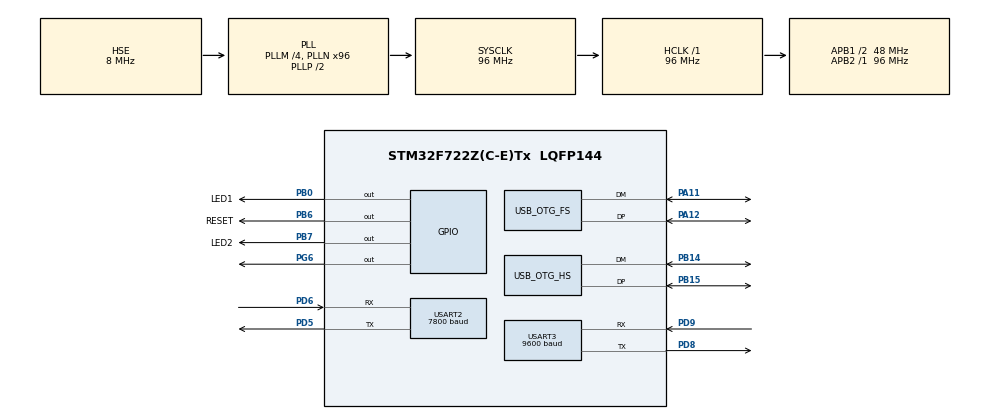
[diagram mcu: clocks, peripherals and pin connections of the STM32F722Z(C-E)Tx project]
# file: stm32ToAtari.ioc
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Mcu.Family=STM32F7
Mcu.Name=STM32F722Z(C-E)Tx
Mcu.Package=LQFP144
NVIC.OTG_FS_IRQn=true\:0\:0\:true\:false\:true\:false\:true
NVIC.OTG_HS_IRQn=true\:0\:0\:true\:false\:true\:false\:true
NVIC.PriorityGroup=NVIC_PRIORITYGROUP_4
NVIC.USART2_IRQn=true\:15\:0\:true\:false\:true\:true\:true
NVIC.USART3_IRQn=true\:0\:0\:false\:false\:true\:true\:true
PA11.Mode=Host_Only
PA11.Signal=USB_OTG_FS_DM
PA12.Mode=Host_Only
PA12.Signal=USB_OTG_FS_DP
PA13.Mode=Serial_Wire
PA13.Signal=SYS_JTMS-SWDIO
PA14.Mode=Serial_Wire
PA14.Signal=SYS_JTCK-SWCLK
PB0.GPIO_Label=LED1
PB0.Signal=GPIO_Output
PB14.Mode=Internal_Phy_Host
PB14.Signal=USB_OTG_HS_DM
PB15.Mode=Internal_Phy_Host
PB15.Signal=USB_OTG_HS_DP
PB6.GPIO_Label=RESET
PB6.GPIO_ModeDefaultOutputPP=GPIO_MODE_OUTPUT_OD
PB6.GPIO_PuPd=GPIO_PULLDOWN
PB6.PinState=GPIO_PIN_SET
PB6.Signal=GPIO_Output
PB7.GPIO_Label=LED2
PB7.Signal=GPIO_Output
PD5.Mode=Asynchronous
PD5.Signal=USART2_TX
PD6.Mode=Asynchronous
PD6.Signal=USART2_RX
PD8.Mode=Asynchronous
PD8.Signal=USART3_TX
PD9.Mode=Asynchronous
PD9.Signal=USART3_RX
PG6.GPIO_PuPd=GPIO_PULLUP
PG6.PinState=GPIO_PIN_SET
PG6.Signal=GPIO_Output
PH0-OSC_IN.Mode=HSE-External-Oscillator
PH0-OSC_IN.Signal=RCC_OSC_IN
PH1-OSC_OUT.Mode=HSE-External-Oscillator
PH1-OSC_OUT.Signal=RCC_OSC_OUT
ProjectManager.HeapSize=0x2000
ProjectManager.StackSize=0x2000
ProjectManager.TargetToolchain=STM32CubeIDE
RCC.AHBFreq_Value=96000000
RCC.APB1CLKDivider=RCC_HCLK_DIV2
RCC.APB1Freq_Value=48000000
RCC.APB1TimFreq_Value=96000000
RCC.APB2Freq_Value=96000000
RCC.APB2TimFreq_Value=96000000
RCC.CortexFreq_Value=96000000
RCC.HCLKFreq_Value=96000000
RCC.HSE_Timout=5000
RCC.HSE_VALUE=8000000
RCC.HSI_VALUE=16000000
RCC.LSE_VALUE=32768
RCC.PLLM=4
RCC.PLLN=96
RCC.PLLQ=4
RCC.PWREXT_OverDrive=PWREXT_OverDrive_ACTIVATED
RCC.PWR_Regulator_Voltage_Scale=PWR_REGULATOR_VOLTAGE_SCALE1
RCC.SYSCLKFreq_VALUE=96000000
RCC.SYSCLKSource=RCC_SYSCLKSOURCE_PLLCLK
RCC.USBFreq_Value=48000000
RCC.VCOOutputFreq_Value=192000000
USART2.BaudRate=7800
USART2.OverrunDisableParam=ADVFEATURE_OVERRUN_DISABLE
USART2.VirtualMode-Asynchronous=VM_ASYNC
USART3.BaudRate=9600
USART3.OverrunDisableParam=ADVFEATURE_OVERRUN_DISABLE
USART3.VirtualMode-Asynchronous=VM_ASYNC
USB_HOST.USBH_HandleTypeDef-HID_FS=hUsbHostFS
USB_HOST.USBH_HandleTypeDef-HID_HS=hUsbHostHS
USB_HOST.VirtualModeFS=Hid
USB_HOST.VirtualModeHS=Hid
USB_OTG_FS.VirtualMode=Host_Only
USB_OTG_FS.phy_itface=HCD_PHY_EMBEDDED
USB_OTG_HS.VirtualMode-Internal_Phy_Host=Int_Phy_Host
VP_USB_HOST_VS_USB_HOST_HID_FS.Mode=HID_FS
VP_USB_HOST_VS_USB_HOST_HID_HS.Mode=HID_HS
board=custom

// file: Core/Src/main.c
/* USER CODE BEGIN Header */
/**
  ******************************************************************************
  * @file           : main.c
  * @brief          : Main program body
  ******************************************************************************
  * @attention
  *
  * <h2><center>&copy; Copyright (c) 2020 STMicroelectronics.
  * All rights reserved.</center></h2>
  *
  * This software component is licensed by ST under BSD 3-Clause license,
  * the "License"; You may not use this file except in compliance with the
  * License. You may obtain a copy of the License at:
  *                        opensource.org/licenses/BSD-3-Clause
  *
  ******************************************************************************
  */
/* USER CODE END Header */

#include "main.h"
#include "usb_host.h"

/* USER CODE BEGIN Includes */
#include "atarist.h"
/* USER CODE END Includes */

/* USER CODE BEGIN PD */
 MouseStatusTypeDef MouseStatus;
 MouseStateTypeDef MouseState;
 JoystickStateTypeDef JoystickState;
 JoystickStatusTypeDef JoystickStatus;

 HID_USBDevicesTypeDef* usb;
 HID_KEYBD_Info_TypeDef *k_pinfo;
 HAL_StatusTypeDef status;
 uint8_t RxBuffer[50] = {0};
 uint8_t RxPrev = 0;

 uint8_t dat_clock[7] = {0};

 //mouse data

/* USER CODE END PD */

UART_HandleTypeDef huart2;
UART_HandleTypeDef huart3;

void SystemClock_Config(void);
static void MX_GPIO_Init(void);
static void MX_USART2_UART_Init(void);
static void MX_USART3_UART_Init(void);
void MX_USB_HOST_Process(void);

/* USER CODE BEGIN 0 */

int __io_putchar(int ch)
{
 uint8_t c[1];
 c[0] = ch & 0x00FF;
 HAL_UART_Transmit(&huart3, &*c, 1, 5);

 return ch;
}

int _write(int file,char *ptr, int len)
{
 int DataIdx;
 for(DataIdx= 0; DataIdx< len; DataIdx++)
 {
 __io_putchar(*ptr++);
 }
return len;
}

uint8_t MapJoystick(uint8_t joystick_data)
{

	  uint8_t joymapped = 0x00;

	   	//Map any button to
		//BTN0 = (joydata1>>7&0x1);
		//BTN1 =  (joydata1>>6&0x1);
		//BTN2 =  (joydata1>>5&0x1);
		//BTN3 =  (joydata1>>4&0x1);

		   	//fire
		   	if((joystick_data>>7&0x1)||(joystick_data>>6&0x1)||(joystick_data>>5&0x1))
		   			{
		   				joymapped = joymapped|0x80;
		   			}
			//mask 0x01 up
		   	//mask 0x02 down
			//mask 0x04
			//mask 0x08

		   	//UP = (*joymap>>3&0x1); Map one of buttons as a jump.
		   	if((joystick_data>>3&0x1)||(joystick_data>>4&0x1))
		   	{
		   		joymapped = joymapped|0x01;
		   	}

		   	//DOWN = (*joymap>>2&0x1);
		 	if(joystick_data>>2&0x1)
			{
		 		joymapped = joymapped|0x02;
			}

			//LEFT = (*joydata1>>1&0x1);
			 	if(joystick_data>>1&0x1)
			 			{
			 				joymapped = joymapped|0x04;
			 			}

		 	////RIGHT = (*joydata1&0x1);

		 	if(joystick_data&0x1)
		 			{
		 				joymapped = joymapped|0x08;
		 			}
		 	return joymapped;
}

void ResetAllStates()
{
	MouseState = MOUSE_RELATIVE;
	MouseStatus.mouse_threshold_x = 1;
	MouseStatus.mouse_threshold_y = 1;
	MouseStatus.absolute_mouse_max_x = 0xFFFF;
	MouseStatus.absolute_mouse_max_y = 0xFFFF;
	MouseStatus.mouse_scale_x = 1;
	MouseStatus.mouse_scale_y = 1;
	MouseStatus.mouse_keycode_delta_x = 1;
	MouseStatus.mouse_keycode_delta_y = 1;

	MouseStatus.mouse_y_position = MOUSE_Y0_AT_TOP;
	JoystickState = JOYSTICK_EVENT_REPORTING;
	JoystickStatus.joystick_data1 = 0;
	JoystickStatus.joystick_data2 = 0;
	JoystickStatus.joystick_previous_data1 = 0;
	JoystickStatus.joystick_previous_data2 = 0;

}

/*0x0D
Returns:
        0xF7       ; absolute mouse position header
BUTTONS
        0000dcba   ; where a is right button down since last interrogation
                   ; b is right button up since last
                   ; c is left button down since last
                   ; d is left button up since last
        XMSB       ; X coordinate
        XLSB
        YMSB       ; Y coordinate
        YLSB
 */

void SendAbsoluteMouseReport(void)
{
	  uint8_t mouse_absolute_report[6] = {0};

		mouse_absolute_report[0] = 0xF7;
		mouse_absolute_report[1] = 0x00;

			if (MouseStatus.absolute_mouse_btn[0]==1)
			{
				mouse_absolute_report[1] = mouse_absolute_report[1]|0x04;
			}
			else
			{
				mouse_absolute_report[1] = mouse_absolute_report[1]|0x08;
			}

			if (MouseStatus.absolute_mouse_btn[1]==1)
			{
				mouse_absolute_report[1] = mouse_absolute_report[1]|0x01;
			}
			else
			{
				mouse_absolute_report[1] = mouse_absolute_report[1]|0x02;
			}

		mouse_absolute_report[2] = *((uint8_t*)&(MouseStatus.absolute_mouse_x)+1);
		mouse_absolute_report[3] = *((uint8_t*)&(MouseStatus.absolute_mouse_x)+0);
		mouse_absolute_report[4] = *((uint8_t*)&(MouseStatus.absolute_mouse_y)+1);
		mouse_absolute_report[5] = *((uint8_t*)&(MouseStatus.absolute_mouse_y)+0);

		if(MouseState == MOUSE_ABSOLUTE)
		{
			HAL_UART_Transmit(&huart2, mouse_absolute_report, 6, 20);
		}

}

void PrintReport(void)
{

			printf("\e[1;1H\e[2J");
			printf("-----------MOUSE STATE--------------\r\n");
	   		printf("Mouse State: %d \r\n",MouseState);
	   		printf("----------MOUSE---------------\r\n");
	   		printf("absolute_mouse_x %d \r\n",MouseStatus.absolute_mouse_x);
	   		printf("absolute_mouse_y %d \r\n",MouseStatus.absolute_mouse_y);
	   		printf("absolute_mouse_btn[0] %d \r\n",MouseStatus.absolute_mouse_btn[0]);
	   		printf("absolute_mouse_btn[1] %d \r\n",MouseStatus.absolute_mouse_btn[1]);
	   		printf("absolute_mouse_btn[2] %d \r\n",MouseStatus.absolute_mouse_btn[2]);

	   		printf("absolute_mouse_previous_btn[0] %d \r\n",MouseStatus.absolute_mouse_previous_btn[0]);
	   		printf("absolute_mouse_previous_btn[1] %d \r\n",MouseStatus.absolute_mouse_previous_btn[1]);
	   		printf("absolute_mouse_previous_btn[2] %d \r\n",MouseStatus.absolute_mouse_previous_btn[2]);

	   		printf("absolute_mouse_max_x %d \r\n",MouseStatus.absolute_mouse_max_x);
	   		printf("absolute_mouse_max_y %d \r\n",MouseStatus.absolute_mouse_max_y);
	   		printf("mouse_threshold_x %d \r\n",MouseStatus.mouse_threshold_x);
	   		printf("mouse_threshold_y %d \r\n",MouseStatus.mouse_threshold_y);
	   		printf("mouse_scale_x %d \r\n",MouseStatus.mouse_scale_x);
	   		printf("mouse_scale_y %d \r\n",MouseStatus.mouse_scale_y);
	   		printf("mouse_keycode_delta_x %d \r\n",MouseStatus.mouse_keycode_delta_x);
	   		printf("mouse_keycode_delta_y %d \r\n",MouseStatus.mouse_keycode_delta_y);
	   		printf("mouse_Y_position %d \r\n",MouseStatus.mouse_y_position);
	   		printf("mouse_button_action %d \r\n",MouseStatus.mouse_button_action);
	   		printf("mouse_button_action_previous_btn[0] %d \r\n",MouseStatus.mouse_button_action_previous_btn[0]);
	   		printf("mouse_button_action_previous_btn[1] %d \r\n",MouseStatus.mouse_button_action_previous_btn[1]);
	   		printf("mouse_button_action_previous_btn[3] %d \r\n",MouseStatus.mouse_button_action_previous_btn[3]);

	   		printf("-----------JOYSTICK STATE--------------\r\n");
	   		printf("Joystick State: %d \r\n",JoystickState);
	   		printf("-----------JOYSTICK STATUS--------------\r\n");
	   		printf("joystick_data1 %d \r\n",JoystickStatus.joystick_data1);
	   		printf("joystick_data2 %d \r\n",JoystickStatus.joystick_data2);
	   		printf("joystick_previous_data1 %d \r\n",JoystickStatus.joystick_previous_data1);
	   		printf("joystick_previous_data2 %d \r\n",JoystickStatus.joystick_previous_data2);
}

/* USER CODE END 0 */

int main(void)
{
  /* USER CODE BEGIN 1 */
ResetAllStates();

  /* USER CODE END 1 */

  /* MCU Configuration--------------------------------------------------------*/

  /* Reset of all peripherals, Initializes the Flash interface and the Systick. */
  HAL_Init();

  /* USER CODE BEGIN Init */

   //Set defaults

  /* USER CODE END Init */

  /* Configure the system clock */
  SystemClock_Config();

  /* Initialize all configured peripherals */
  MX_GPIO_Init();
  MX_USB_HOST_Init();
  MX_USART2_UART_Init();
  MX_USART3_UART_Init();
  /* USER CODE BEGIN 2 */
  initKeyboard(&huart2);

  HAL_UART_Receive_IT(&huart2, RxBuffer, 1);

  //Ack start
  HAL_GPIO_WritePin(LED1_GPIO_Port, LED1_Pin, GPIO_PIN_RESET);
  HAL_GPIO_WritePin(LED2_GPIO_Port, LED2_Pin, GPIO_PIN_RESET);
  printf("!!STM32ToAtari started!! \r\n");

  uint8_t lastGUI = 0x00;

  /* USER CODE END 2 */

  /* Infinite loop */
  while (1)
  {
    MX_USB_HOST_Process();

    /* USER CODE BEGIN 3 */
    usb = (HID_USBDevicesTypeDef *) USBH_HID_GetUSBDev();

    //Keyboard data
    if(usb->keyboard!=NULL)
    {

   	 	 processKbd(usb->keyboard);

   	 if ((lastGUI!=usb->keyboard->lgui)&& usb->keyboard->lgui == 1)
   	 {
   		PrintReport();

   	 }
   	 lastGUI = usb->keyboard->lgui;
    }

//Relative position reporting
 /*
  %111110xy         ; mouse position record flag
                    ; where y is the right button state
                    ; and x is the left button state
X                   ; delta x as twos complement integer
Y                   ; delta y as twos complement integer

*/
 if (usb!=NULL&&usb->mouse!=NULL)
 {
	 //SET Y=0 AT BOTTOM assume it means inverting Y delta (?)

		if (MouseStatus.mouse_y_position == MOUSE_Y0_AT_BOTTOM )
		 {
			 usb->mouse->x = (usb->mouse->x) * -1;
		 }

		switch(MouseState)
		{

			case MOUSE_DISABLED:
			break;

			case MOUSE_RELATIVE:
				;
				uint8_t mouse[3] = {0};
				mouse[0] = 0xF8;
				mouse[0]= mouse[0]|(usb->mouse->buttons[0]<<1);
				mouse[0]= mouse[0]|(usb->mouse->buttons[1]);
				if (abs(usb->mouse->x)>=(MouseStatus.mouse_threshold_x)) mouse[1] = usb->mouse->x;
				if (abs(usb->mouse->y)>=(MouseStatus.mouse_threshold_y)) mouse[2] = usb->mouse->y;

				__disable_irq();
				HAL_UART_Transmit(&huart2, mouse, 3, 10);
				__enable_irq();
			break;

			case MOUSE_ABSOLUTE:

				   MouseStatus.absolute_mouse_btn[0] = usb->mouse->buttons[0];
				   MouseStatus.absolute_mouse_btn[1] = usb->mouse->buttons[1];

				   int new_x_coordinate =  (MouseStatus.absolute_mouse_x) + ((usb->mouse->x) / MouseStatus.mouse_scale_x);
				   if (new_x_coordinate < 0)
					   {
					   new_x_coordinate = 0 ;
					   }
				   	   	   else if (new_x_coordinate > MouseStatus.absolute_mouse_max_x)
				   	   	   {
				   	   		   new_x_coordinate = MouseStatus.absolute_mouse_max_x;
				   	   	   }

				   int new_y_coordinate =  (MouseStatus.absolute_mouse_y) + ((usb->mouse->y) / MouseStatus.mouse_scale_y);
				   if (new_y_coordinate < 0)
					   {
					   	   new_y_coordinate = 0;
					   }
				   	   	   else if (new_y_coordinate > MouseStatus.absolute_mouse_max_y )
				   	   	   {
				   	   		   	   new_y_coordinate = MouseStatus.absolute_mouse_max_y;
				   	   	   }

				   MouseStatus.absolute_mouse_x = (uint16_t)new_x_coordinate;
				   MouseStatus.absolute_mouse_y = (uint16_t)new_y_coordinate;

				   //Action as per Mouse Button action

				   if  (MouseStatus.mouse_button_action == 0x01 || MouseStatus.mouse_button_action == 0x03 )
				   {
					   if ( (MouseStatus.mouse_button_action_previous_btn[0] != usb->mouse->buttons[0]) || (MouseStatus.mouse_button_action_previous_btn[1] != usb->mouse->buttons[1]) )
					   {
						   SendAbsoluteMouseReport();
						   MouseStatus.mouse_button_action_previous_btn[0] = usb->mouse->buttons[0];
						   MouseStatus.mouse_button_action_previous_btn[1] = usb->mouse->buttons[1];
					   }

				   }

				   if  (MouseStatus.mouse_button_action == 0x02 || MouseStatus.mouse_button_action == 0x03)
				   {
					   if ( (MouseStatus.mouse_button_action_previous_btn[0] != usb->mouse->buttons[0]) || (MouseStatus.mouse_button_action_previous_btn[1] != usb->mouse->buttons[1]) )
					  	{
					  		SendAbsoluteMouseReport();
					  		MouseStatus.mouse_button_action_previous_btn[0] = usb->mouse->buttons[0];
					  		MouseStatus.mouse_button_action_previous_btn[1] = usb->mouse->buttons[1];
					  	}

				   }
			break;

		case MOUSE_KEYCODE:
			;
		   	   HID_KEYBD_Info_TypeDef mouse_keycode_keyboard = {0};

		   	   //Handle X coordinates
		   	   if(abs(usb->mouse->x) > MouseStatus.mouse_keycode_delta_x)
		   	   {
		   		   if (usb->mouse->x > 0)
		   		   {
		   			   mouse_keycode_keyboard.keys[0] = KEY_RIGHTARROW;
		   		   }
		   		   else
		   		   {
		   			   mouse_keycode_keyboard.keys[0] = KEY_LEFTARROW;
		   		   }
		   	   }

		   	   //Handle Y coordinates
		   	   if(abs(usb->mouse->y) > MouseStatus.mouse_keycode_delta_y)
		   	   {
		   		   if (usb->mouse->y > 0)
		   		   {
		   			 mouse_keycode_keyboard.keys[1] = KEY_UPARROW;
		   		   }
		   		   else
		   		   {
		   			 mouse_keycode_keyboard.keys[1] = KEY_DOWNARROW;
		   		   }

		   	   }
		   	   //Handle buttons assume Mouse button action = MOUSE_BUTTON_ACTION_KEYCODE
		   	   if(usb->mouse->buttons[0]==1)
		   	   {
		   		   mouse_keycode_keyboard.keys[2] = 0xF0;
		   	   }

		   	   if(usb->mouse->buttons[1]==1)
		   	   {
		   		   mouse_keycode_keyboard.keys[3] = 0xF1;
		   	   }

		   	   processKbd(&mouse_keycode_keyboard);
		   	   mouse_keycode_keyboard.keys[0] = 0x00;
		   	   mouse_keycode_keyboard.keys[1] = 0x00;
		   	   processKbd(&mouse_keycode_keyboard);
	 	 break;

	 	 }//End of case statement

 }

 //handle joy
 if(usb!=NULL&&usb->gamepad1!=NULL)
 {
	 //change values of variables only if data differes.
	 if(JoystickStatus.joystick_previous_data1 != usb->gamepad1)
	 		{
		 	 JoystickStatus.joystick_data1 = usb->gamepad1;
		 	 JoystickStatus.joystick_previous_data1 = JoystickStatus.joystick_data1;

		 	 	if (JoystickState==JOYSTICK_EVENT_REPORTING)
		 	 		 {
		 	 		 	 	uint8_t joy1_package_event[2] = {0};
		 	 				joy1_package_event[0] = 0xFF;
		 	 				joy1_package_event[1] = MapJoystick(JoystickStatus.joystick_data1);
		 	 				__disable_irq();
		 	 				HAL_UART_Transmit(&huart2, joy1_package_event, 2, 100);
		 	 				__enable_irq();
		 	 			}

	 		}

	 }

  }
  /* USER CODE END 3 */
}

void SystemClock_Config(void)
{
  RCC_OscInitTypeDef RCC_OscInitStruct = {0};
  RCC_ClkInitTypeDef RCC_ClkInitStruct = {0};
  RCC_PeriphCLKInitTypeDef PeriphClkInitStruct = {0};

  /** Configure the main internal regulator output voltage
  */
  __HAL_RCC_PWR_CLK_ENABLE();
  __HAL_PWR_VOLTAGESCALING_CONFIG(PWR_REGULATOR_VOLTAGE_SCALE1);
  /** Initializes the CPU, AHB and APB busses clocks
  */
  RCC_OscInitStruct.OscillatorType = RCC_OSCILLATORTYPE_HSE;
  RCC_OscInitStruct.HSEState = RCC_HSE_ON;
  RCC_OscInitStruct.PLL.PLLState = RCC_PLL_ON;
  RCC_OscInitStruct.PLL.PLLSource = RCC_PLLSOURCE_HSE;
  RCC_OscInitStruct.PLL.PLLM = 4;
  RCC_OscInitStruct.PLL.PLLN = 96;
  RCC_OscInitStruct.PLL.PLLP = RCC_PLLP_DIV2;
  RCC_OscInitStruct.PLL.PLLQ = 4;
  if (HAL_RCC_OscConfig(&RCC_OscInitStruct) != HAL_OK)
  {
    Error_Handler();
  }
  /** Activate the Over-Drive mode
  */
  if (HAL_PWREx_EnableOverDrive() != HAL_OK)
  {
    Error_Handler();
  }
  /** Initializes the CPU, AHB and APB busses clocks
  */
  RCC_ClkInitStruct.ClockType = RCC_CLOCKTYPE_HCLK|RCC_CLOCKTYPE_SYSCLK
                              |RCC_CLOCKTYPE_PCLK1|RCC_CLOCKTYPE_PCLK2;
  RCC_ClkInitStruct.SYSCLKSource = RCC_SYSCLKSOURCE_PLLCLK;
  RCC_ClkInitStruct.AHBCLKDivider = RCC_SYSCLK_DIV1;
  RCC_ClkInitStruct.APB1CLKDivider = RCC_HCLK_DIV2;
  RCC_ClkInitStruct.APB2CLKDivider = RCC_HCLK_DIV1;

  if (HAL_RCC_ClockConfig(&RCC_ClkInitStruct, FLASH_LATENCY_3) != HAL_OK)
  {
    Error_Handler();
  }
  PeriphClkInitStruct.PeriphClockSelection = RCC_PERIPHCLK_USART2|RCC_PERIPHCLK_USART3
                              |RCC_PERIPHCLK_CLK48;
  PeriphClkInitStruct.Usart2ClockSelection = RCC_USART2CLKSOURCE_PCLK1;
  PeriphClkInitStruct.Usart3ClockSelection = RCC_USART3CLKSOURCE_PCLK1;
  PeriphClkInitStruct.Clk48ClockSelection = RCC_CLK48SOURCE_PLL;
  if (HAL_RCCEx_PeriphCLKConfig(&PeriphClkInitStruct) != HAL_OK)
  {
    Error_Handler();
  }
}

static void MX_USART2_UART_Init(void)
{

  huart2.Instance = USART2;
  huart2.Init.BaudRate = 7800;
  huart2.Init.WordLength = UART_WORDLENGTH_8B;
  huart2.Init.StopBits = UART_STOPBITS_1;
  huart2.Init.Parity = UART_PARITY_NONE;
  huart2.Init.Mode = UART_MODE_TX_RX;
  huart2.Init.HwFlowCtl = UART_HWCONTROL_NONE;
  huart2.Init.OverSampling = UART_OVERSAMPLING_16;
  huart2.Init.OneBitSampling = UART_ONE_BIT_SAMPLE_DISABLE;
  huart2.AdvancedInit.AdvFeatureInit = UART_ADVFEATURE_RXOVERRUNDISABLE_INIT;
  huart2.AdvancedInit.OverrunDisable = UART_ADVFEATURE_OVERRUN_DISABLE;
  if (HAL_UART_Init(&huart2) != HAL_OK)
  {
    Error_Handler();
  }

}

static void MX_USART3_UART_Init(void)
{

  huart3.Instance = USART3;
  huart3.Init.BaudRate = 9600;
  huart3.Init.WordLength = UART_WORDLENGTH_8B;
  huart3.Init.StopBits = UART_STOPBITS_1;
  huart3.Init.Parity = UART_PARITY_NONE;
  huart3.Init.Mode = UART_MODE_TX_RX;
  huart3.Init.HwFlowCtl = UART_HWCONTROL_NONE;
  huart3.Init.OverSampling = UART_OVERSAMPLING_16;
  huart3.Init.OneBitSampling = UART_ONE_BIT_SAMPLE_DISABLE;
  huart3.AdvancedInit.AdvFeatureInit = UART_ADVFEATURE_RXOVERRUNDISABLE_INIT;
  huart3.AdvancedInit.OverrunDisable = UART_ADVFEATURE_OVERRUN_DISABLE;
  if (HAL_UART_Init(&huart3) != HAL_OK)
  {
    Error_Handler();
  }

}

static void MX_GPIO_Init(void)
{
  GPIO_InitTypeDef GPIO_InitStruct = {0};

  /* GPIO Ports Clock Enable */
  __HAL_RCC_GPIOH_CLK_ENABLE();
  __HAL_RCC_GPIOB_CLK_ENABLE();
  __HAL_RCC_GPIOD_CLK_ENABLE();
  __HAL_RCC_GPIOG_CLK_ENABLE();
  __HAL_RCC_GPIOA_CLK_ENABLE();

  /*Configure GPIO pin Output Level */
  HAL_GPIO_WritePin(GPIOB, LED1_Pin|LED2_Pin, GPIO_PIN_RESET);

  /*Configure GPIO pin Output Level */
  HAL_GPIO_WritePin(GPIOG, GPIO_PIN_6, GPIO_PIN_SET);

  /*Configure GPIO pin Output Level */
  HAL_GPIO_WritePin(RESET_GPIO_Port, RESET_Pin, GPIO_PIN_SET);

  /*Configure GPIO pins : LED1_Pin LED2_Pin */
  GPIO_InitStruct.Pin = LED1_Pin|LED2_Pin;
  GPIO_InitStruct.Mode = GPIO_MODE_OUTPUT_PP;
  GPIO_InitStruct.Pull = GPIO_NOPULL;
  GPIO_InitStruct.Speed = GPIO_SPEED_FREQ_LOW;
  HAL_GPIO_Init(GPIOB, &GPIO_InitStruct);

  /*Configure GPIO pin : PG6 */
  GPIO_InitStruct.Pin = GPIO_PIN_6;
  GPIO_InitStruct.Mode = GPIO_MODE_OUTPUT_PP;
  GPIO_InitStruct.Pull = GPIO_PULLUP;
  GPIO_InitStruct.Speed = GPIO_SPEED_FREQ_LOW;
  HAL_GPIO_Init(GPIOG, &GPIO_InitStruct);

  /*Configure GPIO pin : RESET_Pin */
  GPIO_InitStruct.Pin = RESET_Pin;
  GPIO_InitStruct.Mode = GPIO_MODE_OUTPUT_OD;
  GPIO_InitStruct.Pull = GPIO_PULLDOWN;
  GPIO_InitStruct.Speed = GPIO_SPEED_FREQ_LOW;
  HAL_GPIO_Init(RESET_GPIO_Port, &GPIO_InitStruct);

}

/* USER CODE BEGIN 4 */

void HAL_UART_ErrorCallback(UART_HandleTypeDef *huart)
{

	printf("UART ERROR: %d  \r\n",huart->ErrorCode);
  /* Prevent unused argument(s) compilation warning */
	  if (huart->ErrorCode == HAL_UART_ERROR_ORE){

	        // remove the error condition

	        huart->ErrorCode = HAL_UART_ERROR_NONE;

	        // set the correct state, so that the UART_RX_IT works correctly

	        huart->gState = HAL_UART_STATE_BUSY_RX;

	    }

  /* NOTE : This function should not be modified, when the callback is needed,
            the HAL_UART_ErrorCallback can be implemented in the user file.
   */
  HAL_GPIO_WritePin(LED2_GPIO_Port, LED2_Pin,GPIO_PIN_SET);

}

void HAL_UART_RxCpltCallback(UART_HandleTypeDef *huart)
{
	printf("%X \r\n",RxBuffer[0]);
  /* Prevent unused argument(s) compilation warning */
  UNUSED(huart);

  //Followup requests
  switch (RxPrev)
    {
  	  	  	  case RESET_1:
  	  	  		  RxPrev = 0;
  	  	  		  	  if (RxBuffer[0]==RESET_2)
  	  	  		  	  {
  	  	  		  	  	 ResetAllStates();
  	  	  		  	     HAL_UART_Receive_IT(&huart2, RxBuffer, 1);
  	  	  		  	  	 return;
  	  	  		  	  }
  	  	  		  	  else
  	  	  		  	  {

  	  	  		  		 HAL_UART_Receive_IT(&huart2, RxBuffer, 1);
  	  	  		  	  	 return;
  	  	  		  	  }
  	  	  		  break;

  	    	  case SET_ABSOLUTE_MOUSE_POSITIONING:
  	    		  RxPrev = 0;
	  	  		  MouseStatus.absolute_mouse_max_x = (RxBuffer[0]<<8u)|RxBuffer[1];
	  	  		  MouseStatus.absolute_mouse_max_y = (RxBuffer[2]<<8u)|RxBuffer[3];

  	    	  	  HAL_UART_Receive_IT(&huart2, RxBuffer, 1);

  	    	  	  return;
  	    	  break;

  	    	  case SET_MOUSE_BUTTON_ACTION:
  	    		  RxPrev = 0;
  	    	  	 // MouseStatus.mouse_button_action = RxBuffer[0];
  	    	  	  HAL_UART_Receive_IT(&huart2, RxBuffer, 1);
  	    	  	  return;
  	    	  break;

  	  	  	  case SET_MOUSE_THRESHOLD:
  	  	  		  	  RxPrev = 0;
  	  	  		  	  MouseStatus.mouse_threshold_x = RxBuffer[0];
  	  	  		  	  MouseStatus.mouse_threshold_y = RxBuffer[1];

  	  	  		  	  HAL_UART_Receive_IT(&huart2, RxBuffer, 1);

  	  	  		  	  return;
  	  	  	  break;

  	  	  	  case SET_MOUSE_SCALE:
  	  	  		  	RxPrev = 0;
  	  				MouseStatus.mouse_scale_x = RxBuffer[0];
  	  				MouseStatus.mouse_scale_y = RxBuffer[1];

				  	HAL_UART_Receive_IT(&huart2, RxBuffer, 1);

				    return;
			  break;

  	  	  	  case LOAD_MOUSE_POSITION:
  	  	  		  	RxPrev = 0;
  	  	  		  	MouseStatus.absolute_mouse_x = (RxBuffer[1]<<8u)|RxBuffer[2];
  	  	  		  	MouseStatus.absolute_mouse_y = (RxBuffer[3]<<8u)|RxBuffer[4];

  	  	  			HAL_UART_Receive_IT(&huart2, RxBuffer, 1);

  	  	  			return;
  	  	  	  break;

  	  	   	  default:
  	  	   		  RxPrev = 0;
  	  	  	  break;
    }

  //Initial requests
  switch (RxBuffer[0])
  {
	  case RESET_1:
		  RxPrev =  RESET_1;
		  HAL_UART_Receive_IT(&huart2, RxBuffer, 1);
		  return;
	  break;

	  case SET_RELATIVE_MOUSE_POSITIONING :
	 		  	 MouseState = MOUSE_RELATIVE;
	 		  	 HAL_UART_Receive_IT(&huart2, RxBuffer, 1);
	 		     return;
	 	  break;

	  case SET_MOUSE_BUTTON_ACTION:
		  RxPrev = SET_MOUSE_BUTTON_ACTION;
		  HAL_UART_Receive_IT(&huart2, RxBuffer, 1);
		  return;

	  break;

	  case SET_ABSOLUTE_MOUSE_POSITIONING :
		    MouseState = MOUSE_ABSOLUTE;
		    RxPrev =  SET_ABSOLUTE_MOUSE_POSITIONING;
		    HAL_UART_Receive_IT(&huart2, RxBuffer, 4);

		    return;
	  break;

	  case SET_MOUSE_KEYCODE_MOSE:
		  MouseState = MOUSE_KEYCODE;
		  RxPrev = SET_MOUSE_KEYCODE_MOSE;
		  HAL_UART_Receive_IT(&huart2, RxBuffer, 4);
		  return;

	  break;

	  case SET_MOUSE_SCALE:
	  		  RxPrev = SET_MOUSE_SCALE;
	  		  HAL_UART_Receive_IT(&huart2, RxBuffer, 2);
	  		  return;
	   break;

	  case INTERROGATE_MOUSE_POSITION:
		  SendAbsoluteMouseReport();
		  HAL_UART_Receive_IT(&huart2, RxBuffer, 1);
		  return;
	  break;

	  case LOAD_MOUSE_POSITION:
		   RxPrev = LOAD_MOUSE_POSITION;
		   HAL_UART_Receive_IT(&huart2, RxBuffer, 5);
		   return;
	  break;

	  case DISABLE_MOUSE:
		  MouseState = MOUSE_DISABLED;
	  break;

	  case SET_JOYSTICK_EVENT_REPORTING:
	  	  	JoystickState = JOYSTICK_EVENT_REPORTING;
	  	  	HAL_UART_Receive_IT(&huart2, RxBuffer, 1);
	  	    return;

	  break;

	  case SET_JOYSTICK_INTERROGATION_MODE:
		    JoystickState = JOYSTICK_INTERROGATION_MODE;
		    HAL_UART_Receive_IT(&huart2, RxBuffer, 1);
		    return;

	  break;

	  case JOYSTICK_INTERROGATE:
		  ;
		  uint8_t joy_package[3] = {0};
		  joy_package[0]=0xFD;
		  joy_package[1]= MapJoystick(JoystickStatus.joystick_data2);
		  joy_package[2]= MapJoystick(JoystickStatus.joystick_data1);
		  HAL_UART_Transmit(&huart2, joy_package, 3, 20);

		  HAL_UART_Receive_IT(&huart2, RxBuffer, 1);
		  return;
	  break;

	  case SET_MOUSE_THRESHOLD:
		  RxPrev = SET_MOUSE_THRESHOLD;
		  HAL_UART_Receive_IT(&huart2, RxBuffer, 2);
		  return;
	  break;

	  case INTERROGATE_TIME_OF_DAT_CLOCK:

		  dat_clock[0] = 0xFC;
		  dat_clock[1] = 95;
		  dat_clock[2] = 02;
		  dat_clock[3] = 11;

		  dat_clock[4] = 10;
		  dat_clock[5] = 10;
		  dat_clock[6] = 10;

		  HAL_UART_Transmit(&huart2, dat_clock, 7, 20);
		  break;

  }

	 HAL_UART_Receive_IT(&huart2, RxBuffer, 1);
}
/* USER CODE END 4 */

void Error_Handler(void)
{
}

/************************ (C) COPYRIGHT STMicroelectronics *****END OF FILE****/
